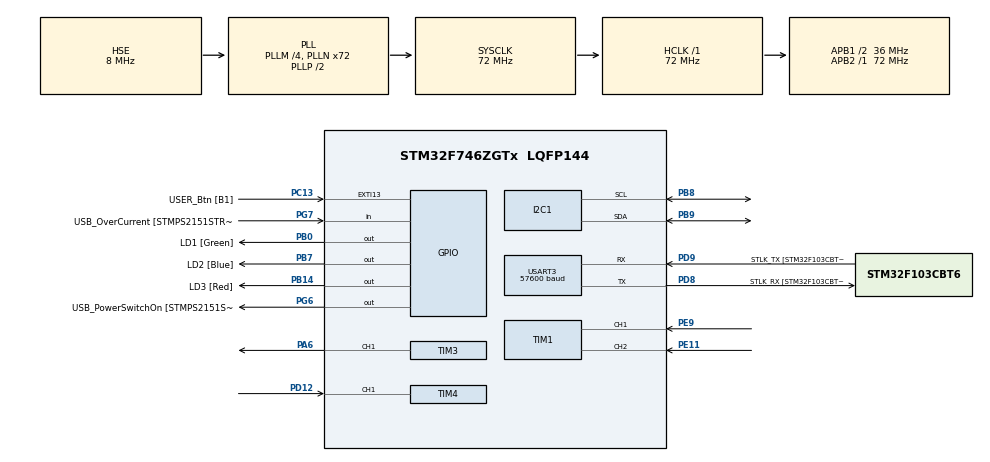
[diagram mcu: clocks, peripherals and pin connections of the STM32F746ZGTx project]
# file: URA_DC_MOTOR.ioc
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I2C1.Timing=0x00808CD2
Mcu.Family=STM32F7
Mcu.Name=STM32F746ZGTx
Mcu.Package=LQFP144
NVIC.EXTI15_10_IRQn=true\:0\:0\:false\:false\:true\:true\:true\:true
NVIC.PriorityGroup=NVIC_PRIORITYGROUP_4
NVIC.TIM3_IRQn=true\:0\:0\:false\:false\:true\:true\:true\:true
NVIC.TIM4_IRQn=true\:0\:0\:false\:false\:true\:true\:true\:true
NVIC.TIM6_DAC_IRQn=true\:0\:0\:false\:false\:true\:true\:true\:true
NVIC.USART3_IRQn=true\:0\:0\:false\:false\:true\:true\:true\:true
PA1.GPIO_Label=RMII_REF_CLK [LAN8742A-CZ-TR_REFCLK0]
PA1.Signal=ETH_REF_CLK
PA10.GPIO_Label=USB_ID
PA10.Signal=USB_OTG_FS_ID
PA11.GPIO_Label=USB_DM
PA11.Signal=USB_OTG_FS_DM
PA12.GPIO_Label=USB_DP
PA12.Signal=USB_OTG_FS_DP
PA13.GPIO_Label=TMS
PA13.Mode=Serial_Wire
PA13.Signal=SYS_JTMS-SWDIO
PA14.GPIO_Label=TCK
PA14.Mode=Serial_Wire
PA14.Signal=SYS_JTCK-SWCLK
PA2.GPIO_Label=RMII_MDIO [LAN8742A-CZ-TR_MDIO]
PA2.Signal=ETH_MDIO
PA6.Signal=S_TIM3_CH1
PA7.GPIO_Label=RMII_CRS_DV [LAN8742A-CZ-TR_CRS_DV]
PA7.Signal=ETH_CRS_DV
PA8.GPIO_Label=USB_SOF [TP1]
PA8.Signal=USB_OTG_FS_SOF
PA9.GPIO_Label=USB_VBUS
PA9.Signal=USB_OTG_FS_VBUS
PB0.GPIO_Label=LD1 [Green]
PB0.Signal=GPIO_Output
PB13.GPIO_Label=RMII_TXD1 [LAN8742A-CZ-TR_TXD1]
PB13.Signal=ETH_TXD1
PB14.GPIO_Label=LD3 [Red]
PB14.Signal=GPIO_Output
PB3.GPIO_Label=SW0
PB3.Signal=SYS_JTDO-SWO
PB7.GPIO_Label=LD2 [Blue]
PB7.Signal=GPIO_Output
PB8.Mode=I2C
PB8.Signal=I2C1_SCL
PB9.Mode=I2C
PB9.Signal=I2C1_SDA
PC1.GPIO_Label=RMII_MDC [LAN8742A-CZ-TR_MDC]
PC1.Signal=ETH_MDC
PC13.GPIO_Label=USER_Btn [B1]
PC13.Signal=GPXTI13
PC14/OSC32_IN.Mode=LSE-External-Oscillator
PC14/OSC32_IN.Signal=RCC_OSC32_IN
PC15/OSC32_OUT.Mode=LSE-External-Oscillator
PC15/OSC32_OUT.Signal=RCC_OSC32_OUT
PC4.GPIO_Label=RMII_RXD0 [LAN8742A-CZ-TR_RXD0]
PC4.Signal=ETH_RXD0
PC5.GPIO_Label=RMII_RXD1 [LAN8742A-CZ-TR_RXD1]
PC5.Signal=ETH_RXD1
PD12.Signal=S_TIM4_CH1
PD8.GPIO_Label=STLK_RX [STM32F103CBT6_PA3]
PD8.GPIO_PuPd=GPIO_PULLUP
PD8.Mode=Asynchronous
PD8.Signal=USART3_TX
PD9.GPIO_Label=STLK_TX [STM32F103CBT6_PA2]
PD9.GPIO_PuPd=GPIO_PULLUP
PD9.Mode=Asynchronous
PD9.Signal=USART3_RX
PE11.Signal=S_TIM1_CH2
PE9.Signal=S_TIM1_CH1
PG11.GPIO_Label=RMII_TX_EN [LAN8742A-CZ-TR_TXEN]
PG11.Signal=ETH_TX_EN
PG13.GPIO_Label=RMII_TXD0 [LAN8742A-CZ-TR_TXD0]
PG13.Signal=ETH_TXD0
PG6.GPIO_Label=USB_PowerSwitchOn [STMPS2151STR_EN]
PG6.Signal=GPIO_Output
PG7.GPIO_Label=USB_OverCurrent [STMPS2151STR_FAULT]
PG7.Signal=GPIO_Input
PH0/OSC_IN.GPIO_Label=MCO [STM32F103CBT6_PA8]
PH0/OSC_IN.Mode=HSE-External-Clock-Source
PH0/OSC_IN.Signal=RCC_OSC_IN
PH1/OSC_OUT.Mode=HSE-External-Clock-Source
PH1/OSC_OUT.Signal=RCC_OSC_OUT
ProjectManager.HeapSize=0x200
ProjectManager.StackSize=0x400
ProjectManager.TargetToolchain=STM32CubeIDE
RCC.48MHZClocksFreq_Value=24000000
RCC.AHBFreq_Value=72000000
RCC.APB1CLKDivider=RCC_HCLK_DIV2
RCC.APB1Freq_Value=36000000
RCC.APB1TimFreq_Value=72000000
RCC.APB2Freq_Value=72000000
RCC.APB2TimFreq_Value=72000000
RCC.CortexFreq_Value=72000000
RCC.HCLKFreq_Value=72000000
RCC.HSE_VALUE=8000000
RCC.HSI_VALUE=16000000
RCC.PLLM=4
RCC.PLLMUL=RCC_PLL_MUL9
RCC.PLLN=72
RCC.PLLQ=3
RCC.PLLSourceVirtual=RCC_PLLSOURCE_HSE
RCC.PRESCALERUSB=RCC_USBCLKSOURCE_PLL_DIV1_5
RCC.SYSCLKFreq_VALUE=72000000
RCC.SYSCLKSource=RCC_SYSCLKSOURCE_PLLCLK
RCC.SYSCLKSourceVirtual=RCC_SYSCLKSOURCE_PLLCLK
RCC.USBFreq_Value=48000000
RCC.VCOOutputFreq_Value=144000000
SH.S_TIM1_CH1.0=TIM1_CH1,Encoder_Interface
SH.S_TIM1_CH2.0=TIM1_CH2,Encoder_Interface
SH.S_TIM3_CH1.0=TIM3_CH1,PWM Generation1 CH1
SH.S_TIM4_CH1.0=TIM4_CH1,Input_Capture1_from_TI1
TIM3.Channel-PWM\ Generation1\ CH1=TIM_CHANNEL_1
TIM3.Period=1000
TIM3.Prescaler=0
TIM4.Channel-Input_Capture1_from_TI1=TIM_CHANNEL_1
TIM4.ICFilter_CH1=15
TIM4.Period=65535
TIM4.Prescaler=72-1
TIM6.Period=10000-1
TIM6.Prescaler=72-1
USART3.BaudRate=57600
USART3.VirtualMode-Asynchronous=VM_ASYNC
VP_TIM3_VS_ClockSourceINT.Mode=Internal
VP_TIM4_VS_ClockSourceINT.Mode=Internal
VP_TIM6_VS_ClockSourceINT.Mode=Enable_Timer
board=NUCLEO-F746ZG

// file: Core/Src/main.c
/* USER CODE BEGIN Header */
/**
  ******************************************************************************
  * @file            main.c
  * @brief           main program body
  ******************************************************************************
  */
/* USER CODE END Header */
#include "main.h"
#include "i2c.h"
#include "tim.h"
#include "usart.h"
#include "gpio.h"

/* USER CODE BEGIN Includes */
#include "Filters.h"
#include "Global_Variables.h"
/* USER CODE END Includes */

void SystemClock_Config(void);

/* USER CODE BEGIN 0 */
void HAL_TIM_IC_CaptureCallback(TIM_HandleTypeDef *htim){
    if (htim == &htim4 && htim->Channel == HAL_TIM_ACTIVE_CHANNEL_1){
        uint32_t now = HAL_TIM_ReadCapturedValue(htim, TIM_CHANNEL_1);
        uint32_t arr = __HAL_TIM_GET_AUTORELOAD(htim);
        uint32_t diff;

        if (ic_start_flag){ // first input
            ic_start_flag = 0;
            ic_prev = now;
            return;
        }

        if (now >= ic_prev)
            diff = now - ic_prev;
        else
            diff = (arr - ic_prev) + now + 1;
        ic_prev = now;

        if (diff > 0){
        	float speed = 60.0f * FB_TIMER_FREQ / (ENC_PULSES_PER_REV * diff);
        	if(speed >1.5*MAX_SPEED) return;
        	speed = 0.8f * Pid1.y + 0.2f * speed;
        	Pid1.y = AvgFilter(speed); // average filter
        }

        life_timer = 0.0f; // motor on - reset life timer
    }
}

void HAL_TIM_PeriodElapsedCallback(TIM_HandleTypeDef *htim){
    if (htim == &htim6){
    	// simple GFFr
        float u_ff = KFF * Pid1.y_ref;
        PID_update(&Pid1);

        float u_calc = u_ff + Pid1.u;

        // saturation due to PWM limits
        if(u_calc > (float)PWM_MAX) u_calc = (float)PWM_MAX;
        if(u_calc < (float)PWM_MIN) u_calc = (float)PWM_MIN;

        u_global = (uint32_t)u_calc;

        /*
        life_timer += SAMPLING_PERIOD;
        if(life_timer >= 1000 * SAMPLING_PERIOD){
            Pid1.y = 0;
            u_global = 0;
            life_timer = 0.0f;

            PID_reset(&Pid1);
        }
        */

        __HAL_TIM_SET_COMPARE(&htim3, TIM_CHANNEL_1, u_global);

        UART_TransmitCnt += 1;
        if(UART_TransmitCnt == 1){
            UART_TransmitCnt = 0;
            UART_TransmitFlag = 1;
        }
    }
}

void HAL_GPIO_EXTI_Callback(uint16_t GPIO_Pin){
    if (GPIO_Pin == USER_Btn_Pin){
        USER_Btn_flag = 1;
    }
}

void HAL_UART_RxCpltCallback(UART_HandleTypeDef *huart){
    if (huart == &huart3){
    	UART_ReceiveFlag = 1;
    }
}
/* USER CODE END 0 */

int main(void)
{

  /* MCU Configuration--------------------------------------------------------*/

  /* Reset of all peripherals, Initializes the Flash interface and the Systick. */
  HAL_Init();

  /* Configure the system clock */
  SystemClock_Config();

  /* Initialize all configured peripherals */
  MX_GPIO_Init();
  MX_I2C1_Init();
  MX_USART3_UART_Init();
  MX_TIM3_Init();
  MX_TIM4_Init();
  MX_TIM6_Init();
  MX_TIM1_Init();
  /* USER CODE BEGIN 2 */
  HAL_UART_Receive_IT(&huart3, (uint8_t*)UART_Message, UART_MessageLen); // start receiving info

  HAL_TIM_Encoder_Start(&htim1, TIM_CHANNEL_ALL); // init encoder mode
  __HAL_TIM_SET_COUNTER(&htim1, START_SPEED*ENC_CONST);
  HAL_TIM_PWM_Start(&htim3, TIM_CHANNEL_1); // init pwm
  HAL_TIM_IC_Start_IT(&htim4, TIM_CHANNEL_1); // sampling from the encoder
  HAL_TIM_Base_Start_IT(&htim6); // init sample time
  __HAL_TIM_SET_COMPARE(&htim3, TIM_CHANNEL_1, PWM_MIN); // set pwm start value to zero
  /* USER CODE END 2 */

  /* Infinite loop */
  /* USER CODE BEGIN WHILE */
  while (1){
	  // input via encoder
	  ENC_Cnt = __HAL_TIM_GET_COUNTER(&htim1)/ENC_CONST;
	  if(ENC_Cnt_prev != ENC_Cnt){
		  int32_t delta = ENC_Cnt - ENC_Cnt_prev;
		  ENC_Cnt_prev = ENC_Cnt;

		  if(delta > 0){
		      if(Pid1.y_ref < MAX_SPEED)
		          Pid1.y_ref++;
		      else{
		    	  Pid1.y_ref = MAX_SPEED;
		      }
		  }
		  else if(delta < 0){
		      if(Pid1.y_ref > MIN_SPEED)
		          Pid1.y_ref--;
		      else{
		    	  Pid1.y_ref = MIN_SPEED;
		      }
		  }

		  ENC_Cnt_prev = ENC_Cnt;
	  }

	  // polling
	  if (USER_Btn_flag){
		  USER_Btn_flag = 0;
		  PID_reset(&Pid1);
		  AvgFilter_Reset();
	  }

	  if(UART_ReceiveFlag){
		UART_ReceiveFlag = 0;
		int rx = atoi(UART_Message);
		int delta = Pid1.y_ref - rx;

		if(rx >= MAX_SPEED){
			Pid1.y_ref = MAX_SPEED;
		}
		else if(rx <= MIN_SPEED){
			Pid1.y_ref = MIN_SPEED;
		}
		else{
			Pid1.y_ref = rx;
		}

		if(delta >= 150){
			AvgFilter_Reset(); // secure for error filtering if the diff is too high
		}

		__HAL_TIM_SET_COUNTER(&htim1, rx*ENC_CONST);
		ENC_Cnt = __HAL_TIM_GET_COUNTER(&htim1)/ENC_CONST;
		ENC_Cnt_prev = ENC_Cnt;

		HAL_UART_Receive_IT(&huart3, (uint8_t*)UART_Message, UART_MessageLen);
	  }

	  if(UART_TransmitFlag){
	      UART_TransmitFlag = 0;
	      char tx[64];
	      int len = snprintf(tx, sizeof(tx), "%.3f %.3f %.3f\r\n", Pid1.y_ref, Pid1.y, (float)u_global);
	      HAL_UART_Transmit_IT(&huart3, (uint8_t*)tx, len);
	  }

    /* USER CODE END WHILE */

  }
}

void SystemClock_Config(void)
{
  RCC_OscInitTypeDef RCC_OscInitStruct = {0};
  RCC_ClkInitTypeDef RCC_ClkInitStruct = {0};

  /** Configure LSE Drive Capability
  */
  HAL_PWR_EnableBkUpAccess();

  /** Configure the main internal regulator output voltage
  */
  __HAL_RCC_PWR_CLK_ENABLE();
  __HAL_PWR_VOLTAGESCALING_CONFIG(PWR_REGULATOR_VOLTAGE_SCALE3);

  /** Initializes the RCC Oscillators according to the specified parameters
  * in the RCC_OscInitTypeDef structure.
  */
  RCC_OscInitStruct.OscillatorType = RCC_OSCILLATORTYPE_HSE;
  RCC_OscInitStruct.HSEState = RCC_HSE_BYPASS;
  RCC_OscInitStruct.PLL.PLLState = RCC_PLL_ON;
  RCC_OscInitStruct.PLL.PLLSource = RCC_PLLSOURCE_HSE;
  RCC_OscInitStruct.PLL.PLLM = 4;
  RCC_OscInitStruct.PLL.PLLN = 72;
  RCC_OscInitStruct.PLL.PLLP = RCC_PLLP_DIV2;
  RCC_OscInitStruct.PLL.PLLQ = 3;
  if (HAL_RCC_OscConfig(&RCC_OscInitStruct) != HAL_OK)
  {
    Error_Handler();
  }

  /** Initializes the CPU, AHB and APB buses clocks
  */
  RCC_ClkInitStruct.ClockType = RCC_CLOCKTYPE_HCLK|RCC_CLOCKTYPE_SYSCLK
                              |RCC_CLOCKTYPE_PCLK1|RCC_CLOCKTYPE_PCLK2;
  RCC_ClkInitStruct.SYSCLKSource = RCC_SYSCLKSOURCE_PLLCLK;
  RCC_ClkInitStruct.AHBCLKDivider = RCC_SYSCLK_DIV1;
  RCC_ClkInitStruct.APB1CLKDivider = RCC_HCLK_DIV2;
  RCC_ClkInitStruct.APB2CLKDivider = RCC_HCLK_DIV1;

  if (HAL_RCC_ClockConfig(&RCC_ClkInitStruct, FLASH_LATENCY_2) != HAL_OK)
  {
    Error_Handler();
  }
}

void Error_Handler(void)
{
  __disable_irq();
  while (1)
  {
  }
}
